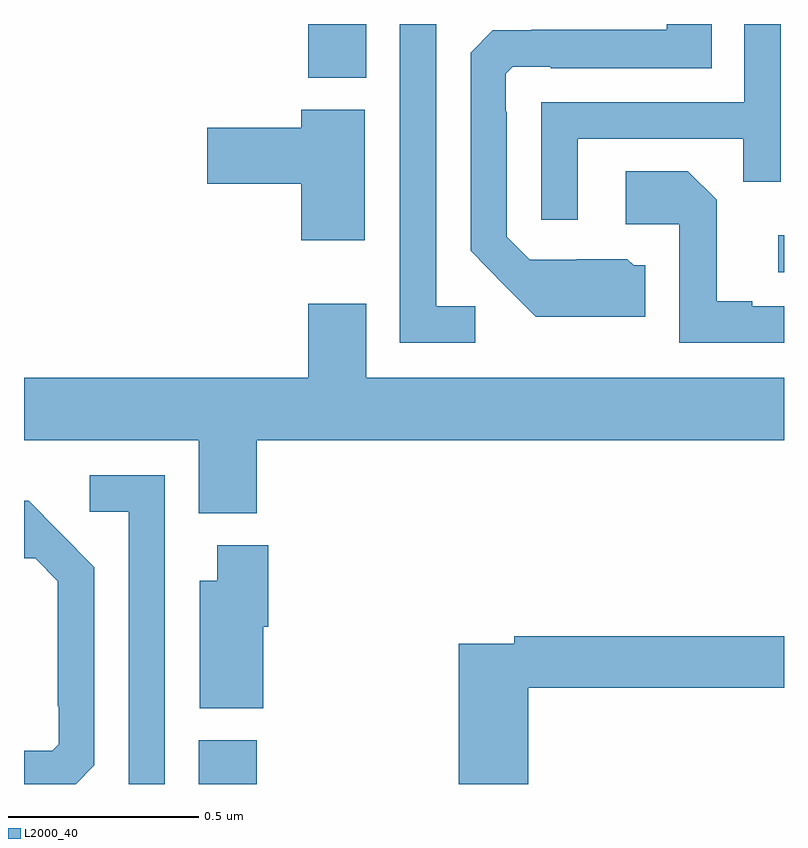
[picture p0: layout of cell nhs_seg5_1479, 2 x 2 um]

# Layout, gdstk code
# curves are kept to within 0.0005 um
import gdstk
lib = gdstk.Library(unit=1e-6, precision=1e-09)
def R(c, l, rs):  # rectangles x0, y0, x1, y1
    for r in rs: c.add(gdstk.rectangle(r[:2], r[2:], *l))
def P(c, l, *ps):  # polygons
    for p in ps: c.add(gdstk.Polygon(p, *l))
L2000_40 = (2000, 40)

nhs_seg5_1479 = lib.new_cell('nhs_seg5_1479')
R(nhs_seg5_1479, L2000_40, [(130.46,911.799,130.613,911.914), (131.985,913.146,132,913.243), (130.748,913.658,130.9,913.799)])
P(nhs_seg5_1479, L2000_40, [(131.457,913.497),(131.893,913.497),(131.893,913.384),(131.991,913.384),(131.991,913.799),(131.895,913.799),(131.895,913.593),(131.361,913.593),(131.361,913.284),(131.457,913.284)],
  [(131.188,913.056),(131.085,913.056),(131.085,913.799),(130.989,913.799),(130.989,912.96),(131.188,912.96)],
  [(131.635,913.164),(131.604,913.164),(131.588,913.18),(131.454,913.18),(131.454,913.179),(131.331,913.179),(131.271,913.239),(131.271,913.568),(131.268,913.568),(131.268,913.668),(131.286,913.686),(131.386,913.686),(131.386,913.683),(131.81,913.683),(131.81,913.799),(131.692,913.799),(131.692,913.784),(131.335,913.784),(131.335,913.783),(131.234,913.783),(131.175,913.724),(131.175,913.202),(131.347,913.028),(131.635,913.028)],
  [(130.897,913.573),(130.73,913.573),(130.73,913.526),(130.482,913.526),(130.482,913.379),(130.73,913.379),(130.73,913.23),(130.897,913.23)],
  [(132,913.056),(131.917,913.056),(131.917,913.069),(131.823,913.069),(131.823,913.336),(131.747,913.412),(131.583,913.412),(131.583,913.272),(131.724,913.272),(131.724,912.96),(132,912.96)],
  [(130.613,912.704),(132,912.704),(132,912.868),(130.9,912.868),(130.9,913.063),(130.748,913.063),(130.748,912.868),(130,912.868),(130,912.704),(130.46,912.704),(130.46,912.512),(130.613,912.512)],
  [(130.371,912.612),(130.173,912.612),(130.173,912.516),(130.275,912.516),(130.275,911.799),(130.371,911.799)],
  [(130.185,911.848),(130.185,912.37),(130.013,912.544),(130,912.544),(130,912.393),(130.029,912.393),(130.089,912.333),(130.089,912.004),(130.092,912.004),(130.092,911.904),(130.074,911.886),(130,911.886),(130,911.799),(130.136,911.799)],
  [(130.63,912.213),(130.643,912.213),(130.643,912.427),(130.508,912.427),(130.508,912.334),(130.463,912.334),(130.463,911.999),(130.63,911.999)],
  [(131.327,912.052),(132,912.052),(132,912.188),(131.29,912.188),(131.29,912.168),(131.144,912.168),(131.144,911.799),(131.327,911.799)])

lib.write_gds('nhs_seg5_1479.gds')
